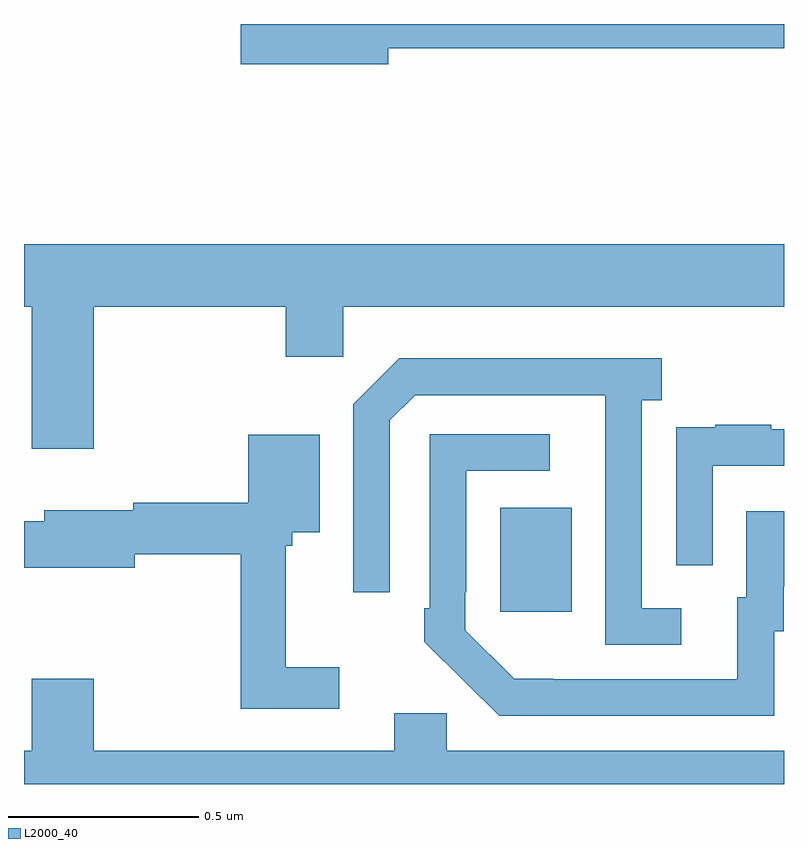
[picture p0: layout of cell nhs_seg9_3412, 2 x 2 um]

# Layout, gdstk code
import gdstk
lib = gdstk.Library(unit=1e-6, precision=1e-09)
def R(c, l, rs):  # rectangles x0, y0, x1, y1
    for r in rs: c.add(gdstk.rectangle(r[:2], r[2:], *l))
def P(c, l, *ps):  # polygons
    for p in ps: c.add(gdstk.Polygon(p, *l))
L2000_40 = (2000, 40)

nhs_seg9_3412 = lib.new_cell('nhs_seg9_3412')
R(nhs_seg9_3412, L2000_40, [(154.253,1192.953,154.441,1193.227)])
P(nhs_seg9_3412, L2000_40, [(153.958,1194.436),(155,1194.436),(155,1194.5),(153.57,1194.5),(153.57,1194.394),(153.958,1194.394)],
  [(153.184,1193.756),(153.689,1193.756),(153.689,1193.625),(153.84,1193.625),(153.84,1193.756),(155,1193.756),(155,1193.92),(153,1193.92),(153,1193.756),(153.02,1193.756),(153.02,1193.382),(153.184,1193.382)],
  [(154.729,1192.962),(154.626,1192.962),(154.626,1193.51),(154.678,1193.51),(154.678,1193.62),(153.988,1193.62),(153.867,1193.499),(153.867,1193.004),(153.963,1193.004),(153.963,1193.457),(154.029,1193.523),(154.529,1193.523),(154.529,1193.323),(154.53,1193.323),(154.53,1192.866),(154.729,1192.866)],
  [(154.812,1193.337),(155,1193.337),(155,1193.433),(154.967,1193.433),(154.967,1193.446),(154.819,1193.446),(154.819,1193.439),(154.717,1193.439),(154.717,1193.33),(154.716,1193.33),(154.716,1193.076),(154.812,1193.076)],
  [(154.974,1192.902),(154.999,1192.902),(154.999,1193.021),(155,1193.021),(155,1193.218),(154.901,1193.218),(154.901,1192.992),(154.877,1192.992),(154.877,1192.776),(154.393,1192.776),(154.393,1192.777),(154.29,1192.777),(154.161,1192.905),(154.161,1193.005),(154.164,1193.005),(154.164,1193.325),(154.384,1193.325),(154.384,1193.421),(154.068,1193.421),(154.068,1192.963),(154.053,1192.963),(154.053,1192.875),(154.158,1192.77),(154.159,1192.771),(154.25,1192.68),(154.974,1192.68)],
  [(153.829,1192.807),(153.689,1192.807),(153.689,1193.127),(153.706,1193.127),(153.706,1193.162),(153.778,1193.162),(153.778,1193.419),(153.59,1193.419),(153.59,1193.24),(153.288,1193.24),(153.288,1193.221),(153.053,1193.221),(153.053,1193.191),(153,1193.191),(153,1193.069),(153.292,1193.069),(153.292,1193.104),(153.571,1193.104),(153.571,1192.698),(153.829,1192.698)],
  [(155,1192.588),(154.113,1192.588),(154.113,1192.686),(153.974,1192.686),(153.974,1192.588),(153.184,1192.588),(153.184,1192.777),(153.02,1192.777),(153.02,1192.588),(153,1192.588),(153,1192.5),(155,1192.5)])

lib.write_gds('nhs_seg9_3412.gds')
